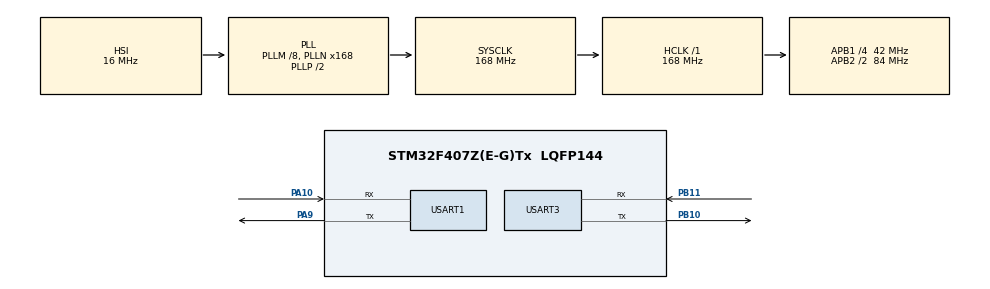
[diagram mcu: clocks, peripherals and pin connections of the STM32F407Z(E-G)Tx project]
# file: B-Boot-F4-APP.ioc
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Dma.Request0=USART3_RX
Dma.Request1=USART3_TX
Dma.USART3_RX.0.Direction=DMA_PERIPH_TO_MEMORY
Dma.USART3_RX.0.FIFOMode=DMA_FIFOMODE_DISABLE
Dma.USART3_RX.0.Instance=DMA1_Stream1
Dma.USART3_RX.0.MemDataAlignment=DMA_MDATAALIGN_BYTE
Dma.USART3_RX.0.MemInc=DMA_MINC_ENABLE
Dma.USART3_RX.0.Mode=DMA_NORMAL
Dma.USART3_RX.0.PeriphDataAlignment=DMA_PDATAALIGN_BYTE
Dma.USART3_RX.0.PeriphInc=DMA_PINC_DISABLE
Dma.USART3_RX.0.Priority=DMA_PRIORITY_LOW
Dma.USART3_TX.1.Direction=DMA_MEMORY_TO_PERIPH
Dma.USART3_TX.1.FIFOMode=DMA_FIFOMODE_DISABLE
Dma.USART3_TX.1.Instance=DMA1_Stream3
Dma.USART3_TX.1.MemDataAlignment=DMA_MDATAALIGN_BYTE
Dma.USART3_TX.1.MemInc=DMA_MINC_ENABLE
Dma.USART3_TX.1.Mode=DMA_NORMAL
Dma.USART3_TX.1.PeriphDataAlignment=DMA_PDATAALIGN_BYTE
Dma.USART3_TX.1.PeriphInc=DMA_PINC_DISABLE
Dma.USART3_TX.1.Priority=DMA_PRIORITY_LOW
Mcu.Family=STM32F4
Mcu.Name=STM32F407Z(E-G)Tx
Mcu.Package=LQFP144
NVIC.DMA1_Stream1_IRQn=true\:0\:0\:false\:false\:true\:false\:true\:true
NVIC.DMA1_Stream3_IRQn=true\:0\:0\:false\:false\:true\:false\:true\:true
NVIC.PriorityGroup=NVIC_PRIORITYGROUP_4
NVIC.USART1_IRQn=true\:0\:0\:false\:false\:true\:true\:true\:true
NVIC.USART3_IRQn=true\:0\:0\:false\:false\:true\:true\:true\:true
PA10.Mode=Asynchronous
PA10.Signal=USART1_RX
PA13.Mode=Serial_Wire
PA13.Signal=SYS_JTMS-SWDIO
PA14.Mode=Serial_Wire
PA14.Signal=SYS_JTCK-SWCLK
PA9.Mode=Asynchronous
PA9.Signal=USART1_TX
PB10.Mode=Asynchronous
PB10.Signal=USART3_TX
PB11.Mode=Asynchronous
PB11.Signal=USART3_RX
PH0-OSC_IN.Mode=HSE-External-Oscillator
PH0-OSC_IN.Signal=RCC_OSC_IN
PH1-OSC_OUT.Mode=HSE-External-Oscillator
PH1-OSC_OUT.Signal=RCC_OSC_OUT
ProjectManager.HeapSize=0x200
ProjectManager.StackSize=0x400
ProjectManager.TargetToolchain=MDK-ARM V5.32
RCC.48MHZClocksFreq_Value=84000000
RCC.AHBFreq_Value=168000000
RCC.APB1CLKDivider=RCC_HCLK_DIV4
RCC.APB1Freq_Value=42000000
RCC.APB1TimFreq_Value=84000000
RCC.APB2CLKDivider=RCC_HCLK_DIV2
RCC.APB2Freq_Value=84000000
RCC.APB2TimFreq_Value=168000000
RCC.CortexFreq_Value=168000000
RCC.HCLKFreq_Value=168000000
RCC.HSE_VALUE=25000000
RCC.HSI_VALUE=16000000
RCC.LSE_VALUE=32768
RCC.PLLM=8
RCC.PLLN=168
RCC.SYSCLKFreq_VALUE=168000000
RCC.SYSCLKSource=RCC_SYSCLKSOURCE_PLLCLK
RCC.VCOOutputFreq_Value=336000000
USART1.VirtualMode=VM_ASYNC
USART3.VirtualMode=VM_ASYNC
board=custom

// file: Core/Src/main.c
/* USER CODE BEGIN Header */
/**
 ******************************************************************************
 * @file           : main.c
 * @brief          : Main program body
 ******************************************************************************
 * @attention
 *
 * Copyright (c) 2023 STMicroelectronics.
 * All rights reserved.
 *
 * This software is licensed under terms that can be found in the LICENSE file
 * in the root directory of this software component.
 * If no LICENSE file comes with this software, it is provided AS-IS.
 *
 ******************************************************************************
 */
/* USER CODE END Header */
#include "main.h"
#include "dma.h"
#include "usart.h"
#include "gpio.h"

/* USER CODE BEGIN Includes */
#include "ymodem.h"
#include "stdio.h"
#include "dtu-4g.h"
#include "string.h"
#include "stdlib.h"
/* USER CODE END Includes */

/* USER CODE BEGIN PTD */
//#define USE_YMODEM        //使用串口进行升级
#define USE_DTU_4G      //使用DTU4G模块进行升级
/* USER CODE END PTD */

void SystemClock_Config(void);

int main(void)
{
	/* USER CODE BEGIN 1 */
	SCB->VTOR = FLASH_BASE | BootLoader_Size; /* 修改中断向量表 */
	__enable_irq();
	/* USER CODE END 1 */

	/* MCU Configuration--------------------------------------------------------*/

	/* Reset of all peripherals, Initializes the Flash interface and the Systick. */
	HAL_Init();

	/* Configure the system clock */
	SystemClock_Config();

	/* Initialize all configured peripherals */
	MX_GPIO_Init();
	MX_DMA_Init();
	MX_USART1_UART_Init();
	MX_USART3_UART_Init();

	/* Infinite loop */
	/* USER CODE BEGIN WHILE */
	u1_printf("\r\n");
	u1_printf("***********************************\r\n");
	u1_printf("*                                 *\r\n");
	u1_printf("*      B-Boot-F4's Application    *\r\n");
	u1_printf("*          For the test           *\r\n");
	u1_printf("*         Version :  %s         *\r\n",VERSION);
	u1_printf("*                                 *\r\n");
	u1_printf("***********************************\r\n");

#ifdef USE_DTU_4G
	/* 进入指令模式，设置服务器信息 */
	DTU_Enter_CMD();
#endif

  while (1)
	{
    /* USER CODE END WHILE */

    /* USER CODE BEGIN 3 */
#ifdef USE_YMODEM
        YModem_Update();
#endif
#ifdef USE_DTU_4G
        DTU_Working();
#endif
	}
	/* USER CODE END 3 */
}

void SystemClock_Config(void)
{
	RCC_OscInitTypeDef RCC_OscInitStruct = {0};
	RCC_ClkInitTypeDef RCC_ClkInitStruct = {0};

	/** Configure the main internal regulator output voltage
	 */
	__HAL_RCC_PWR_CLK_ENABLE();
	__HAL_PWR_VOLTAGESCALING_CONFIG(PWR_REGULATOR_VOLTAGE_SCALE1);

	/** Initializes the RCC Oscillators according to the specified parameters
	 * in the RCC_OscInitTypeDef structure.
	 */
	RCC_OscInitStruct.OscillatorType = RCC_OSCILLATORTYPE_HSI;
	RCC_OscInitStruct.HSIState = RCC_HSI_ON;
	RCC_OscInitStruct.HSICalibrationValue = RCC_HSICALIBRATION_DEFAULT;
	RCC_OscInitStruct.PLL.PLLState = RCC_PLL_ON;
	RCC_OscInitStruct.PLL.PLLSource = RCC_PLLSOURCE_HSI;
	RCC_OscInitStruct.PLL.PLLM = 8;
	RCC_OscInitStruct.PLL.PLLN = 168;
	RCC_OscInitStruct.PLL.PLLP = RCC_PLLP_DIV2;
	RCC_OscInitStruct.PLL.PLLQ = 4;
	if (HAL_RCC_OscConfig(&RCC_OscInitStruct) != HAL_OK)
	{
		Error_Handler();
	}

	/** Initializes the CPU, AHB and APB buses clocks
	 */
	RCC_ClkInitStruct.ClockType = RCC_CLOCKTYPE_HCLK | RCC_CLOCKTYPE_SYSCLK | RCC_CLOCKTYPE_PCLK1 | RCC_CLOCKTYPE_PCLK2;
	RCC_ClkInitStruct.SYSCLKSource = RCC_SYSCLKSOURCE_PLLCLK;
	RCC_ClkInitStruct.AHBCLKDivider = RCC_SYSCLK_DIV1;
	RCC_ClkInitStruct.APB1CLKDivider = RCC_HCLK_DIV4;
	RCC_ClkInitStruct.APB2CLKDivider = RCC_HCLK_DIV2;

	if (HAL_RCC_ClockConfig(&RCC_ClkInitStruct, FLASH_LATENCY_5) != HAL_OK)
	{
		Error_Handler();
	}
}

void Error_Handler(void)
{
	__disable_irq();
	while (1)
	{
	}
}

#ifdef USE_FULL_ASSERT
/**
 * @brief  Reports the name of the source file and the source line number
 *         where the assert_param error has occurred.
 * @param  file: pointer to the source file name
 * @param  line: assert_param error line source number
 * @retval None
 */
void assert_failed(uint8_t *file, uint32_t line)
{
	/* USER CODE BEGIN 6 */
	/* User can add his own implementation to report the file name and line number,
	   ex: u1_printf("Wrong parameters value: file %s on line %d\r\n", file, line) */
	/* USER CODE END 6 */
}
#endif /* USE_FULL_ASSERT */
